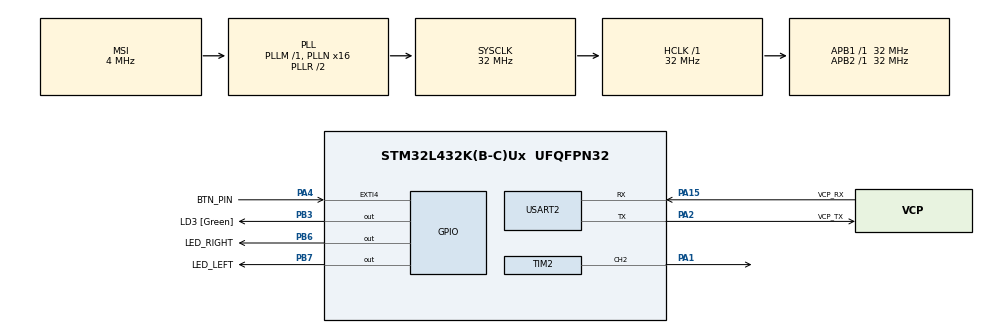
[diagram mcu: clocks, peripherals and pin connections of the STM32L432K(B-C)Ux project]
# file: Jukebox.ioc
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Mcu.Family=STM32L4
Mcu.Name=STM32L432K(B-C)Ux
Mcu.Package=UFQFPN32
NVIC.EXTI4_IRQn=true\:0\:0\:false\:false\:true\:true\:true
NVIC.PriorityGroup=NVIC_PRIORITYGROUP_4
NVIC.TIM1_BRK_TIM15_IRQn=true\:0\:0\:false\:false\:true\:true\:true
NVIC.TIM1_CC_IRQn=true\:0\:0\:false\:false\:true\:true\:true
NVIC.TIM1_TRG_COM_IRQn=true\:0\:0\:false\:false\:true\:true\:true
NVIC.TIM1_UP_TIM16_IRQn=true\:0\:0\:false\:false\:true\:true\:true
PA0.GPIO_Label=MCO [High speed clock in]
PA0.Mode=HSE-External-Clock-Source-for-LittleOrca
PA0.Signal=RCC_CK_IN
PA1.Signal=S_TIM2_CH2
PA13\ (JTMS-SWDIO).GPIO_Label=SWDIO
PA13\ (JTMS-SWDIO).Mode=Serial_Wire
PA13\ (JTMS-SWDIO).Signal=SYS_JTMS-SWDIO
PA14\ (JTCK-SWCLK).GPIO_Label=SWCLK
PA14\ (JTCK-SWCLK).Mode=Serial_Wire
PA14\ (JTCK-SWCLK).Signal=SYS_JTCK-SWCLK
PA15\ (JTDI).GPIO_Label=VCP_RX
PA15\ (JTDI).Mode=Asynchronous
PA15\ (JTDI).Signal=USART2_RX
PA2.GPIO_Label=VCP_TX
PA2.Mode=Asynchronous
PA2.Signal=USART2_TX
PA4.GPIO_Label=BTN_PIN
PA4.Signal=GPXTI4
PB3\ (JTDO-TRACESWO).GPIO_Label=LD3 [Green]
PB3\ (JTDO-TRACESWO).Signal=GPIO_Output
PB6.GPIO_Label=LED_RIGHT
PB6.Signal=GPIO_Output
PB7.GPIO_Label=LED_LEFT
PB7.Signal=GPIO_Output
PC14-OSC32_IN\ (PC14).Mode=LSE-External-Oscillator
PC14-OSC32_IN\ (PC14).Signal=RCC_OSC32_IN
PC15-OSC32_OUT\ (PC15).Mode=LSE-External-Oscillator
PC15-OSC32_OUT\ (PC15).Signal=RCC_OSC32_OUT
ProjectManager.HeapSize=0x200
ProjectManager.StackSize=0x400
ProjectManager.TargetToolchain=Makefile
RCC.AHBFreq_Value=32000000
RCC.APB1Freq_Value=32000000
RCC.APB1TimFreq_Value=32000000
RCC.APB2Freq_Value=32000000
RCC.APB2TimFreq_Value=32000000
RCC.CortexFreq_Value=32000000
RCC.HCLKFreq_Value=32000000
RCC.HSE_VALUE=8000000
RCC.HSI16_VALUE=16000000
RCC.HSI48_VALUE=48000000
RCC.HSI_VALUE=16000000
RCC.MSI_VALUE=4000000
RCC.PLLMUL=RCC_PLLMUL_4
RCC.PLLN=16
RCC.SYSCLKFreq_VALUE=32000000
RCC.SYSCLKSource=RCC_SYSCLKSOURCE_PLLCLK
RCC.VCOOutputFreq_Value=64000000
SH.S_TIM2_CH2.0=TIM2_CH2,PWM Generation2 CH2
TIM1.CounterMode=TIM_COUNTERMODE_UP
TIM1.Period=50
TIM1.Prescaler=32000
TIM2.Channel-PWM\ Generation2\ CH2=TIM_CHANNEL_2
TIM2.Period=0
USART2.VirtualMode-Asynchronous=VM_ASYNC
VP_TIM1_VS_ClockSourceINT.Mode=Internal
board=NUCLEO-L432KC

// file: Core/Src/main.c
/* USER CODE BEGIN Header */
/**
  ******************************************************************************
  * @file           : main.c
  * @brief          : Main program body
  ******************************************************************************
  * @attention
  *
  * <h2><center>&copy; Copyright (c) 2021 STMicroelectronics.
  * All rights reserved.</center></h2>
  *
  * This software component is licensed by ST under BSD 3-Clause license,
  * the "License"; You may not use this file except in compliance with the
  * License. You may obtain a copy of the License at:
  *                        opensource.org/licenses/BSD-3-Clause
  *
  ******************************************************************************
  */
/* USER CODE END Header */
#include "main.h"

/* USER CODE BEGIN PD */

// defining all note freqeuncies
#define CFREQ 32000000 // Clock frequency
#define _C0    16
#define _CS0   17
#define _D0    18
#define _DS0   19
#define _E0    20
#define _F0    21
#define _FS0   23
#define _G0    24
#define _GS0   25
#define _A0    27
#define _AS0   29
#define _B0    30
#define _C1    32
#define _CS1   34
#define _D1    36
#define _DS1   38
#define _E1    41
#define _F1    43
#define _FS1   46
#define _G1    49
#define _GS1   51
#define _A1    55
#define _AS1   58
#define _B1    61
#define _C2    65
#define _CS2   69
#define _D2    73
#define _DS2   77
#define _E2    82
#define _F2    87
#define _FS2   92
#define _G2    98
#define _GS2   103
#define _A2    110
#define _AS2   116
#define _B2    123
#define _C3    130
#define _CS3   138
#define _D3    146
#define _DS3   155
#define _E3    164
#define _F3    174
#define _FS3   185
#define _G3    196
#define _GS3   207
#define _A3    220
#define _AS3   233
#define _B3    246
#define _C4    261
#define _CS4   277
#define _D4    293
#define _DS4   311
#define _E4    329
#define _F4    349
#define _FS4   369
#define _G4    392
#define _GS4   415
#define _A4    440
#define _AS4   466
#define _B4    493
#define _C5    523
#define _CS5   554
#define _D5    587
#define _DS5   622
#define _E5    659
#define _F5    698
#define _FS5   739
#define _G5    783
#define _GS5   830
#define _A5    880
#define _AS5   932
#define _B5    987
#define _C6    1046
#define _CS6   1108
#define _D6    1174
#define _DS6   1244
#define _E6    1318
#define _F6    1396
#define _FS6   1479
#define _G6    1567
#define _GS6   1661
#define _A6    1760
#define _AS6   1864
#define _B6    1975
#define _C7    2093
#define _CS7   2217
#define _D7    2349
#define _DS7   2489
#define _E7    2637
#define _F7    2793
#define _FS7   2959
#define _G7    3135
#define _GS7   3322
#define _A7    3520
#define _AS7   3729
#define _B7    3951
#define _C8    4186
#define _CS8   4434
#define _D8    4698
#define _DS8   4978
#define _E8    5274
#define _F8    5587
#define _FS8   5919
#define _G8    6271
#define _GS8   6644
#define _A8    7040
#define _AS8   7458
#define _B8    7902
#define BPM    60
#define _R     0
/* USER CODE END PD */

TIM_HandleTypeDef htim1;
TIM_HandleTypeDef htim2;

UART_HandleTypeDef huart2;

/* USER CODE BEGIN PV */
volatile uint16_t play = 0; // meldoy play index
uint16_t interrupted; // used to break out of HAL_Delay
volatile uint16_t change_melody = 0; // used to indicate a melody change

uint16_t melody_1 [][2] = {{_C4, 4}, {_G3, 8}, {_G3, 8}, {_C3, 4}, {_G3, 4}, {_B3, 4}, {_C4, 4}, {0, 1}};

uint16_t melody_2 [][2] = {{_C4, 8}, {_G3, 4}, {_G3, 4}, {_C3, 8}, {_G3, 8}, {_B3, 8}, {_C4, 8}, {0, 1}};

uint16_t melody_3 [][2] = {{_C3, 1}, {_G3, 4}, {_A2, 1}, {_C3, 4}, {_C3, 8}, {_C3, 8}, {0, 1}};

uint16_t melody_4 [][2] = {{_B3, 2}, {_C3, 6}, {_D2, 2}, {_C3, 4}, {_C3, 8}, {_C3, 2}, {0, 1}};

/* USER CODE END PV */

void SystemClock_Config(void);
static void MX_GPIO_Init(void);
static void MX_USART2_UART_Init(void);
static void MX_TIM1_Init(void);
static void MX_TIM2_Init(void);

/* USER CODE BEGIN 0 */

void HAL_GPIO_EXTI_Callback(uint16_t GPIO_Pin) {

	//check if the right pin is set
	if(GPIO_Pin == BTN_PIN_Pin) {
		HAL_TIM_Base_Start_IT(&htim1);

	}

	// if not do nothing
	else{
		__NOP();
	}
}

void HAL_TIM_PeriodElapsedCallback(TIM_HandleTypeDef *htim) {

	HAL_TIM_Base_Stop_IT(&htim1);

	// check if the button is still pressed
	if(HAL_GPIO_ReadPin(GPIOA, BTN_PIN_Pin)) {

		//change the song
		if(play < 4) play += 1;
		else play = 0;

		// set variables to break out of the song loop
		interrupted = 1;
		change_melody = 1;
	}
}

//*************** LED HANDLE FUNCTIONS START **********************************//
void reset_LED_Pins() {
	/*
	 *  This function resets the Pins of both LED's
	 */

	HAL_GPIO_WritePin(GPIOB, LED_LEFT_Pin, RESET);
	HAL_GPIO_WritePin(GPIOB, LED_RIGHT_Pin, RESET);
}

void led_rythem(uint16_t index) {
	/*
	 * This helper function handles the rythem of the LED's to match the melody
	 */

	if(index == 0) {
		// turn on the left LED and turn off the right LED
		HAL_GPIO_WritePin(GPIOB, LED_LEFT_Pin, SET);
		HAL_GPIO_WritePin(GPIOB, LED_RIGHT_Pin, RESET);
	}

	if(index == 1) {
		// turn on the right LED and turn of the left LED
		HAL_GPIO_WritePin(GPIOB, LED_RIGHT_Pin, SET);
		HAL_GPIO_WritePin(GPIOB, LED_LEFT_Pin, RESET);
	}
}

//*************** LED HANDLE FUNCTIONS END **********************************//

// ************* PWM HELPER FUNTIONS START **********************************//
static void tone_set(uint16_t freq) {

	/*
	 * this function takes the frequency and sets the Period and Dutycycle
	 *
	 */

	uint16_t period = CFREQ / (freq); // determine the period

	__HAL_TIM_SET_AUTORELOAD(&htim2, period); // change the ARR to the period value
	__HAL_TIM_SET_COMPARE(&htim2, TIM_CHANNEL_2, (period / 2)); // change the dutycycle
	__HAL_TIM_SET_COUNTER(&htim2, 0); // reset the counter to 0
}

void tone_start(uint16_t play_duration) {
	/*
	 * This function starts to play a tone and waits for a given amount of time
	 *
	 */

	HAL_TIM_PWM_Start(&htim2, TIM_CHANNEL_2); // start PWM (play the tone)
	HAL_Delay(play_duration); // play the note for a duration
}

void tone_stop(uint16_t play_duration) {
	/*
	 * This function stops the playing of a tone and waits for 10 ms
	 */

	HAL_TIM_PWM_Stop(&htim2, TIM_CHANNEL_2); // stop the PWM (stop playing tone)
	HAL_Delay(10); // wait for a short duration to better distinguish between notes
}
// ************* PWM HELPER FUNTIONS END **********************************//

// ************* MELODY PLAYING FUNTIONS START ***************************//
uint16_t note_duration(uint16_t note_length) {

	/*
	 * this function takes the note length and returns the time it should be played in ms
	 *
	 * therefore BPM(beats per minute) gets divided by 60 which gives us the beats per second
	 * then it gets multiplied by 1000 in order to get the time in  ms
	 * and then divided by the note length which gives the time the note is played in ms
	 */

	return (((BPM / 60) * 1000) / note_length);
}

void play_song(uint16_t melody[][2]) {

	/*
	 * this function takes a melody as an input and plays it
	 *
	 * it also checks whether the button to change the melody has been pressed
	 */

	uint16_t i = 0; // used to index the notes in the melody
	uint16_t j = 0; // used to alternate the LED's

	while(melody[i][0] != 0 && change_melody == 0) {
		/*
		 * check if the break button has been pressed to change the melody or
		 * if the end of the melody has been reached
		 */

		if(j > 1) j = 0; //

		uint16_t note_freq = melody[i][0]; // get the note frequency
		uint16_t note_dur =  note_duration(melody[i][1]); // get the note duration

		tone_set(note_freq); // the set note

		led_rythem(j); // change the LED's to match the melody

		tone_start(note_dur); // start playing the tone for the duration
		tone_stop(note_dur); // stop playing the tone

		j++;
		i++;
	}

	reset_LED_Pins(); // reset the LED's after the melody has been played

	if(change_melody == 1) change_melody = 0; // change it back to 0 if the button has been pressed

	HAL_Delay(1000); // to wait between every melody
}

void choose_melody() {

	/*
	 * This function decides which melody is going to be played
	 *
	 * if play == 0 no song will be played
	 */

	if(play == 1) play_song(melody_1);
	if(play == 2) play_song(melody_2);
	if(play == 3) play_song(melody_3);
	if(play == 4) play_song(melody_4);

}
// ************* MELODY PLAYING FUNTIONS END ***************************//

int main(void)
{

  /* MCU Configuration--------------------------------------------------------*/

  /* Reset of all peripherals, Initializes the Flash interface and the Systick. */
  HAL_Init();

  /* Configure the system clock */
  SystemClock_Config();

  /* Initialize all configured peripherals */
  MX_GPIO_Init();
  MX_USART2_UART_Init();
  MX_TIM1_Init();
  MX_TIM2_Init();

  /* Infinite loop */
  while (1)
  {
	  choose_melody();
  }
}

void SystemClock_Config(void)
{
  RCC_OscInitTypeDef RCC_OscInitStruct = {0};
  RCC_ClkInitTypeDef RCC_ClkInitStruct = {0};
  RCC_PeriphCLKInitTypeDef PeriphClkInit = {0};

  /** Configure LSE Drive Capability
  */
  HAL_PWR_EnableBkUpAccess();
  __HAL_RCC_LSEDRIVE_CONFIG(RCC_LSEDRIVE_LOW);
  /** Initializes the RCC Oscillators according to the specified parameters
  * in the RCC_OscInitTypeDef structure.
  */
  RCC_OscInitStruct.OscillatorType = RCC_OSCILLATORTYPE_LSE|RCC_OSCILLATORTYPE_MSI;
  RCC_OscInitStruct.LSEState = RCC_LSE_ON;
  RCC_OscInitStruct.MSIState = RCC_MSI_ON;
  RCC_OscInitStruct.MSICalibrationValue = 0;
  RCC_OscInitStruct.MSIClockRange = RCC_MSIRANGE_6;
  RCC_OscInitStruct.PLL.PLLState = RCC_PLL_ON;
  RCC_OscInitStruct.PLL.PLLSource = RCC_PLLSOURCE_MSI;
  RCC_OscInitStruct.PLL.PLLM = 1;
  RCC_OscInitStruct.PLL.PLLN = 16;
  RCC_OscInitStruct.PLL.PLLP = RCC_PLLP_DIV7;
  RCC_OscInitStruct.PLL.PLLQ = RCC_PLLQ_DIV2;
  RCC_OscInitStruct.PLL.PLLR = RCC_PLLR_DIV2;
  if (HAL_RCC_OscConfig(&RCC_OscInitStruct) != HAL_OK)
  {
    Error_Handler();
  }
  /** Initializes the CPU, AHB and APB buses clocks
  */
  RCC_ClkInitStruct.ClockType = RCC_CLOCKTYPE_HCLK|RCC_CLOCKTYPE_SYSCLK
                              |RCC_CLOCKTYPE_PCLK1|RCC_CLOCKTYPE_PCLK2;
  RCC_ClkInitStruct.SYSCLKSource = RCC_SYSCLKSOURCE_PLLCLK;
  RCC_ClkInitStruct.AHBCLKDivider = RCC_SYSCLK_DIV1;
  RCC_ClkInitStruct.APB1CLKDivider = RCC_HCLK_DIV1;
  RCC_ClkInitStruct.APB2CLKDivider = RCC_HCLK_DIV1;

  if (HAL_RCC_ClockConfig(&RCC_ClkInitStruct, FLASH_LATENCY_1) != HAL_OK)
  {
    Error_Handler();
  }
  PeriphClkInit.PeriphClockSelection = RCC_PERIPHCLK_USART2;
  PeriphClkInit.Usart2ClockSelection = RCC_USART2CLKSOURCE_PCLK1;
  if (HAL_RCCEx_PeriphCLKConfig(&PeriphClkInit) != HAL_OK)
  {
    Error_Handler();
  }
  /** Configure the main internal regulator output voltage
  */
  if (HAL_PWREx_ControlVoltageScaling(PWR_REGULATOR_VOLTAGE_SCALE1) != HAL_OK)
  {
    Error_Handler();
  }
  /** Enable MSI Auto calibration
  */
  HAL_RCCEx_EnableMSIPLLMode();
}

static void MX_TIM1_Init(void)
{

  TIM_ClockConfigTypeDef sClockSourceConfig = {0};
  TIM_MasterConfigTypeDef sMasterConfig = {0};

  htim1.Instance = TIM1;
  htim1.Init.Prescaler = 32000;
  htim1.Init.CounterMode = TIM_COUNTERMODE_UP;
  htim1.Init.Period = 50;
  htim1.Init.ClockDivision = TIM_CLOCKDIVISION_DIV1;
  htim1.Init.RepetitionCounter = 0;
  htim1.Init.AutoReloadPreload = TIM_AUTORELOAD_PRELOAD_DISABLE;
  if (HAL_TIM_Base_Init(&htim1) != HAL_OK)
  {
    Error_Handler();
  }
  sClockSourceConfig.ClockSource = TIM_CLOCKSOURCE_INTERNAL;
  if (HAL_TIM_ConfigClockSource(&htim1, &sClockSourceConfig) != HAL_OK)
  {
    Error_Handler();
  }
  sMasterConfig.MasterOutputTrigger = TIM_TRGO_RESET;
  sMasterConfig.MasterOutputTrigger2 = TIM_TRGO2_RESET;
  sMasterConfig.MasterSlaveMode = TIM_MASTERSLAVEMODE_DISABLE;
  if (HAL_TIMEx_MasterConfigSynchronization(&htim1, &sMasterConfig) != HAL_OK)
  {
    Error_Handler();
  }

}

static void MX_TIM2_Init(void)
{

  TIM_MasterConfigTypeDef sMasterConfig = {0};
  TIM_OC_InitTypeDef sConfigOC = {0};

  htim2.Instance = TIM2;
  htim2.Init.Prescaler = 0;
  htim2.Init.CounterMode = TIM_COUNTERMODE_UP;
  htim2.Init.Period = 0;
  htim2.Init.ClockDivision = TIM_CLOCKDIVISION_DIV1;
  htim2.Init.AutoReloadPreload = TIM_AUTORELOAD_PRELOAD_DISABLE;
  if (HAL_TIM_PWM_Init(&htim2) != HAL_OK)
  {
    Error_Handler();
  }
  sMasterConfig.MasterOutputTrigger = TIM_TRGO_RESET;
  sMasterConfig.MasterSlaveMode = TIM_MASTERSLAVEMODE_DISABLE;
  if (HAL_TIMEx_MasterConfigSynchronization(&htim2, &sMasterConfig) != HAL_OK)
  {
    Error_Handler();
  }
  sConfigOC.OCMode = TIM_OCMODE_PWM1;
  sConfigOC.Pulse = 0;
  sConfigOC.OCPolarity = TIM_OCPOLARITY_HIGH;
  sConfigOC.OCFastMode = TIM_OCFAST_DISABLE;
  if (HAL_TIM_PWM_ConfigChannel(&htim2, &sConfigOC, TIM_CHANNEL_2) != HAL_OK)
  {
    Error_Handler();
  }
  HAL_TIM_MspPostInit(&htim2);

}

static void MX_USART2_UART_Init(void)
{

  huart2.Instance = USART2;
  huart2.Init.BaudRate = 115200;
  huart2.Init.WordLength = UART_WORDLENGTH_8B;
  huart2.Init.StopBits = UART_STOPBITS_1;
  huart2.Init.Parity = UART_PARITY_NONE;
  huart2.Init.Mode = UART_MODE_TX_RX;
  huart2.Init.HwFlowCtl = UART_HWCONTROL_NONE;
  huart2.Init.OverSampling = UART_OVERSAMPLING_16;
  huart2.Init.OneBitSampling = UART_ONE_BIT_SAMPLE_DISABLE;
  huart2.AdvancedInit.AdvFeatureInit = UART_ADVFEATURE_NO_INIT;
  if (HAL_UART_Init(&huart2) != HAL_OK)
  {
    Error_Handler();
  }

}

static void MX_GPIO_Init(void)
{
  GPIO_InitTypeDef GPIO_InitStruct = {0};

  /* GPIO Ports Clock Enable */
  __HAL_RCC_GPIOC_CLK_ENABLE();
  __HAL_RCC_GPIOA_CLK_ENABLE();
  __HAL_RCC_GPIOB_CLK_ENABLE();

  /*Configure GPIO pin Output Level */
  HAL_GPIO_WritePin(GPIOB, LD3_Pin|LED_RIGHT_Pin|LED_LEFT_Pin, GPIO_PIN_RESET);

  /*Configure GPIO pin : BTN_PIN_Pin */
  GPIO_InitStruct.Pin = BTN_PIN_Pin;
  GPIO_InitStruct.Mode = GPIO_MODE_IT_RISING;
  GPIO_InitStruct.Pull = GPIO_NOPULL;
  HAL_GPIO_Init(BTN_PIN_GPIO_Port, &GPIO_InitStruct);

  /*Configure GPIO pins : LD3_Pin LED_RIGHT_Pin LED_LEFT_Pin */
  GPIO_InitStruct.Pin = LD3_Pin|LED_RIGHT_Pin|LED_LEFT_Pin;
  GPIO_InitStruct.Mode = GPIO_MODE_OUTPUT_PP;
  GPIO_InitStruct.Pull = GPIO_NOPULL;
  GPIO_InitStruct.Speed = GPIO_SPEED_FREQ_LOW;
  HAL_GPIO_Init(GPIOB, &GPIO_InitStruct);

  /* EXTI interrupt init*/
  HAL_NVIC_SetPriority(EXTI4_IRQn, 0, 0);
  HAL_NVIC_EnableIRQ(EXTI4_IRQn);

}

void Error_Handler(void)
{
}

/************************ (C) COPYRIGHT STMicroelectronics *****END OF FILE****/
